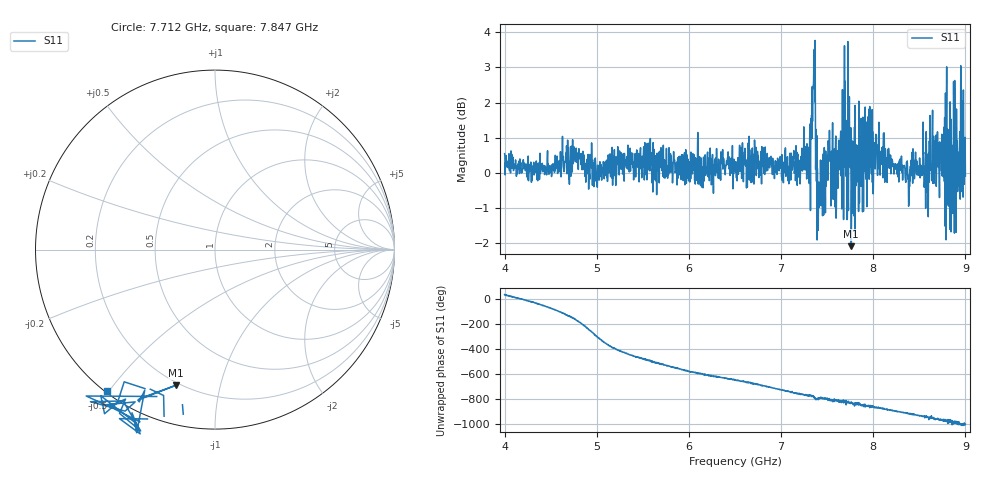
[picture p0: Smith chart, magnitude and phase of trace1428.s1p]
! Created with skrf 1.8.0 (http://scikit-rf.org).
# Hz S RI R 50.0
!freq ReS11 ImS11
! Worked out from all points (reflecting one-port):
!   1601 points, 4 GHz to 9 GHz, reference 50 ohm
!   lowest |S11| = -2.1 dB at 7.762 GHz (marker M1), VSWR 8.34, Z = 9.33 - j36.9 ohm
!   phase of S11 starts at 36 deg and turns -1040 deg over the sweep
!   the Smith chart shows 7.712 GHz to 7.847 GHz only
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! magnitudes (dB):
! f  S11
! 4 GHz  0.5
! 4.625 GHz  0.5
! 4.753 GHz  0.4
! 5.019 GHz  0.1
! 5.25 GHz  0.5
! 5.875 GHz  0.0
! 6.5 GHz  0.2
! 7.125 GHz  0.2
! 7.294 GHz  0.1
! 7.347 GHz  2.5
! 7.369 GHz  3.8
! 7.4 GHz  -0.5
! 7.416 GHz  -0.8
! 7.509 GHz  -0.2
! 7.591 GHz  0.9
! 7.669 GHz  0.2
! 7.75 GHz  0.7
! 7.762 GHz  -2.1
! 7.775 GHz  0.9
! 7.962 GHz  1.9
! 8.375 GHz  -0.2
! 8.441 GHz  0.0
! 8.575 GHz  1.2
! 8.662 GHz  0.2
! 8.788 GHz  -0.1
! 8.841 GHz  1.5
! 8.959 GHz  2.1
! 9 GHz  -0.1
